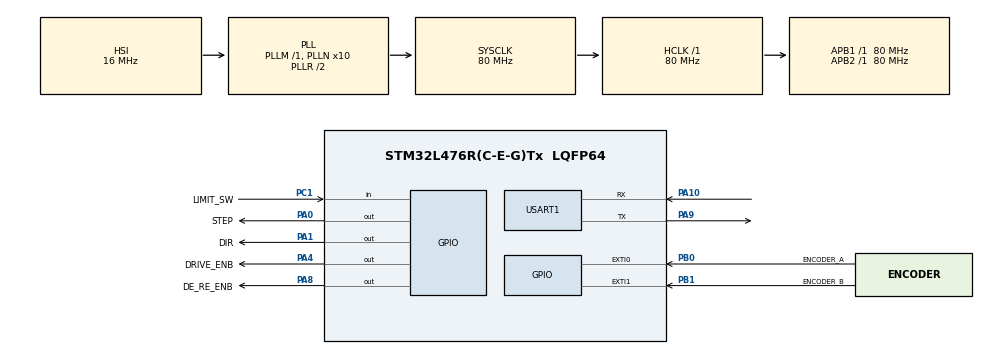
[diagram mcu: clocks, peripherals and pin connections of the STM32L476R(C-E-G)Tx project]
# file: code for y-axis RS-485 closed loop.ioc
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FREERTOS.Tasks01=MotorTask,-1,128,StartMotorTask,Default,NULL,Dynamic,NULL,NULL;EncoderTask,0,128,StartEncoderTask,Default,NULL,Dynamic,NULL,NULL
Mcu.Family=STM32L4
Mcu.Name=STM32L476R(C-E-G)Tx
Mcu.Package=LQFP64
NVIC.EXTI0_IRQn=true\:5\:0\:false\:false\:true\:true\:true\:true\:true
NVIC.EXTI1_IRQn=true\:5\:0\:false\:false\:true\:true\:true\:true\:true
NVIC.PriorityGroup=NVIC_PRIORITYGROUP_4
NVIC.TIM2_IRQn=true\:15\:0\:false\:false\:true\:false\:false\:true\:true
NVIC.TimeBase=TIM2_IRQn
NVIC.TimeBaseIP=TIM2
NVIC.USART1_IRQn=true\:5\:0\:false\:false\:true\:true\:true\:true\:true
PA0.GPIO_Label=STEP
PA0.Signal=GPIO_Output
PA1.GPIO_Label=DIR
PA1.Signal=GPIO_Output
PA10.Mode=Asynchronous
PA10.Signal=USART1_RX
PA4.GPIO_Label=DRIVE_ENB
PA4.Signal=GPIO_Output
PA8.GPIO_Label=DE_RE_ENB
PA8.Signal=GPIO_Output
PA9.Mode=Asynchronous
PA9.Signal=USART1_TX
PB0.GPIO_Label=ENCODER_A
PB0.GPIO_ModeDefaultEXTI=GPIO_MODE_IT_RISING_FALLING
PB0.GPIO_PuPd=GPIO_PULLUP
PB0.Signal=GPXTI0
PB1.GPIO_Label=ENCODER_B
PB1.GPIO_ModeDefaultEXTI=GPIO_MODE_IT_RISING_FALLING
PB1.GPIO_PuPd=GPIO_PULLUP
PB1.Signal=GPXTI1
PC1.GPIO_Label=LIMIT_SW
PC1.GPIO_PuPd=GPIO_PULLUP
PC1.Signal=GPIO_Input
PH0-OSC_IN\ (PH0).Mode=HSE-External-Oscillator
PH0-OSC_IN\ (PH0).Signal=RCC_OSC_IN
PH1-OSC_OUT\ (PH1).Mode=HSE-External-Oscillator
PH1-OSC_OUT\ (PH1).Signal=RCC_OSC_OUT
ProjectManager.HeapSize=0x200
ProjectManager.StackSize=0x400
ProjectManager.TargetToolchain=STM32CubeIDE
RCC.ADCFreq_Value=64000000
RCC.AHBFreq_Value=80000000
RCC.APB1Freq_Value=80000000
RCC.APB1TimFreq_Value=80000000
RCC.APB2Freq_Value=80000000
RCC.APB2TimFreq_Value=80000000
RCC.CortexFreq_Value=80000000
RCC.HCLKFreq_Value=80000000
RCC.HSE_VALUE=8000000
RCC.HSI_VALUE=16000000
RCC.LSE_VALUE=32768
RCC.MSI_VALUE=4000000
RCC.PLLN=10
RCC.PLLSourceVirtual=RCC_PLLSOURCE_HSI
RCC.PREFETCH_ENABLE=1
RCC.SYSCLKFreq_VALUE=80000000
RCC.SYSCLKSource=RCC_SYSCLKSOURCE_PLLCLK
RCC.USBFreq_Value=64000000
RCC.VCOOutputFreq_Value=160000000
TIM1.Prescaler=80-1
USART1.VirtualMode-Asynchronous=VM_ASYNC
VP_FREERTOS_VS_CMSIS_V1.Mode=CMSIS_V1
VP_SYS_VS_tim2.Mode=TIM2
VP_TIM1_VS_ClockSourceINT.Mode=Internal
board=NUCLEO-L476RG

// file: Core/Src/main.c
/* USER CODE BEGIN Header */
/**
  ******************************************************************************
  * @file           : main.c
  * @brief          : Main program body
  ******************************************************************************
  * @attention
  *
  * Copyright (c) 2025 STMicroelectronics.
  * All rights reserved.
  *
  * This software is licensed under terms that can be found in the LICENSE file
  * in the root directory of this software component.
  * If no LICENSE file comes with this software, it is provided AS-IS.
  *
  ******************************************************************************
  */
/* USER CODE END Header */
#include "main.h"
#include "cmsis_os.h"

/* USER CODE BEGIN Includes */
#include "PlebcStepper.h"
#include "modbus_rtu_slave.h"
#include "stdio.h"
#include "stdint.h"
#include "string.h"
#include "stdlib.h"
/* USER CODE END Includes */

/* USER CODE BEGIN PTD */

//For Encoder
volatile int lastEncoded = 0;
volatile long encoderValue = 0;
int lastMSB = 0;
int lastLSB = 0;

int prev_input_distance = 0;
int prevstepsToMove=0;

volatile float velocity = 0.00;
volatile float rpm = 0; // Current RPM
volatile float prev_rpm = 0;
volatile float pully_dia = 0;

float acceleration = 0;
float prev_acceleration = 0;

//Calculating motor steps
int motorSetSteps = 0; // Steps per revolution of the motor
float prev_targetPosition = 0;
int input_distance= 0;
long int updatedEncoderValue;
long int currentPosition = 0;
float targetPosition = 0;
long int positionToMove = 0;
int stepsToMove = 0;

//For calculating RPM
volatile long encoderPulses = 0;
#define PULSES_PER_REVOLUTION 1130 // Set this to your encoder's pulses per revolution
float speed = 0.00;

float enc_val_in_1rev = 1130.00; //linear encoder values in 1 revolution - test bench
float mm_in_1rev = 40.00; //distance covered on 1 revolution (in mm)(linear encoder) - test bench

//float enc_val_in_1rev = 2848.00; //linear encoder values in 1 revolution - x-axis
//float mm_in_1rev = 100.00; //distance covered on 1 revolution (in mm)(linear encoder) - x-axis

//float enc_val_in_1rev = 3550.00; //linear encoder values in 1 revolution - z-axis
//float mm_in_1rev = 125.00; //distance covered on 1 revolution (in mm)(linear encoder) - z-axis

/* USER CODE END PTD */

/* USER CODE BEGIN PD */

/* USER CODE BEGIN PD */

/* Pins on Board */
//	PA0 -> STEP/Pulse
//	PA1 -> DIR
//  PA4 -> DRIVE_ENB
//	PB0 -> ENCODER_A
//	PB1 -> ENCODER_B
//	PC1 -> LIMIT_SW
//	PA9 -> USART1_TX
//	PA10 -> USART1_RX
//  PA8 -> DE_RE_Pin (DE,RE Pin of RS485 module)

/* User Instructions */

//	1mm = 160 steps
//  360 degree = 1130 linear encoder values
//  360 degree = 40 mm movement
//  1 mm = 28.25 linear encoder values
//  1 value = 0.353982300884956

/* USER CODE END PD */

TIM_HandleTypeDef htim1;

UART_HandleTypeDef huart1;

osThreadId MotorTaskHandle;
osThreadId EncoderTaskHandle;

void SystemClock_Config(void);
static void MX_GPIO_Init(void);
static void MX_TIM1_Init(void);
static void MX_USART1_UART_Init(void);
void StartMotorTask(void const * argument);
void StartEncoderTask(void const * argument);

/* USER CODE BEGIN 0 */

void updateEncoder(void)
{
  int MSB = HAL_GPIO_ReadPin(GPIOB, ENCODER_A_Pin);
  int LSB = HAL_GPIO_ReadPin(GPIOB, ENCODER_B_Pin);

  int encoded = (MSB << 1) | LSB;
  int sum = (lastEncoded << 2) | encoded;

  if (sum == 0b1101 || sum == 0b0100 || sum == 0b0010 || sum == 0b1011)
  {
    encoderValue++;
    encoderPulses++;
  }

  if (sum == 0b1110 || sum == 0b0111 || sum == 0b0001 || sum == 0b1000)
  {
    encoderValue--;
    encoderPulses++;
  }

  lastEncoded = encoded;
}
void HAL_GPIO_EXTI_Callback(uint16_t GPIO_Pin)
{
  if (GPIO_Pin == ENCODER_A_Pin || GPIO_Pin == ENCODER_B_Pin)
  {
    updateEncoder();

  }
}

// Function to start UART reception
void UART_StartReceive(void)
{
  // Enable reception by setting DE and RE pins high
  HAL_GPIO_WritePin(DE_RE_ENB_GPIO_Port, DE_RE_ENB_Pin, GPIO_PIN_RESET);

  HAL_UARTEx_ReceiveToIdle_IT(&huart1, RxData, RX_BUFFER_SIZE);

}

int _write(int file, char *ptr, int len)
{
	int i = 0;
	for(i=0; i<len; i++)

		ITM_SendChar((*ptr++));

	return len;
}

/* USER CODE END 0 */

int main(void)
{

  /* USER CODE BEGIN 1 */

	velocity 		= Holding_Registers_Database[0];
	acceleration 	= Holding_Registers_Database[1];
	pully_dia 		= Holding_Registers_Database[2];
	motorSetSteps 	= Holding_Registers_Database[3];

  /* USER CODE END 1 */

  /* MCU Configuration--------------------------------------------------------*/

  /* Reset of all peripherals, Initializes the Flash interface and the Systick. */
  HAL_Init();

  /* Configure the system clock */
  SystemClock_Config();

  /* Initialize all configured peripherals */
  MX_GPIO_Init();
  MX_TIM1_Init();
  MX_USART1_UART_Init();
  /* USER CODE BEGIN 2 */

    HAL_TIM_Base_Start(&htim1);
    UART_StartReceive();

  /* USER CODE END 2 */

  /* Create the thread(s) */
  /* definition and creation of MotorTask */
  osThreadDef(MotorTask, StartMotorTask, osPriorityBelowNormal, 0, 128);
  MotorTaskHandle = osThreadCreate(osThread(MotorTask), NULL);

  /* definition and creation of EncoderTask */
  osThreadDef(EncoderTask, StartEncoderTask, osPriorityNormal, 0, 128);
  EncoderTaskHandle = osThreadCreate(osThread(EncoderTask), NULL);

  /* Start scheduler */
  osKernelStart();

  /* We should never get here as control is now taken by the scheduler */

  /* Infinite loop */
  while (1)
  {

  }
}

void SystemClock_Config(void)
{
  RCC_OscInitTypeDef RCC_OscInitStruct = {0};
  RCC_ClkInitTypeDef RCC_ClkInitStruct = {0};

  /** Configure the main internal regulator output voltage
  */
  if (HAL_PWREx_ControlVoltageScaling(PWR_REGULATOR_VOLTAGE_SCALE1) != HAL_OK)
  {
    Error_Handler();
  }

  /** Initializes the RCC Oscillators according to the specified parameters
  * in the RCC_OscInitTypeDef structure.
  */
  RCC_OscInitStruct.OscillatorType = RCC_OSCILLATORTYPE_HSI;
  RCC_OscInitStruct.HSIState = RCC_HSI_ON;
  RCC_OscInitStruct.HSICalibrationValue = RCC_HSICALIBRATION_DEFAULT;
  RCC_OscInitStruct.PLL.PLLState = RCC_PLL_ON;
  RCC_OscInitStruct.PLL.PLLSource = RCC_PLLSOURCE_HSI;
  RCC_OscInitStruct.PLL.PLLM = 1;
  RCC_OscInitStruct.PLL.PLLN = 10;
  RCC_OscInitStruct.PLL.PLLP = RCC_PLLP_DIV7;
  RCC_OscInitStruct.PLL.PLLQ = RCC_PLLQ_DIV2;
  RCC_OscInitStruct.PLL.PLLR = RCC_PLLR_DIV2;
  if (HAL_RCC_OscConfig(&RCC_OscInitStruct) != HAL_OK)
  {
    Error_Handler();
  }

  /** Initializes the CPU, AHB and APB buses clocks
  */
  RCC_ClkInitStruct.ClockType = RCC_CLOCKTYPE_HCLK|RCC_CLOCKTYPE_SYSCLK
                              |RCC_CLOCKTYPE_PCLK1|RCC_CLOCKTYPE_PCLK2;
  RCC_ClkInitStruct.SYSCLKSource = RCC_SYSCLKSOURCE_PLLCLK;
  RCC_ClkInitStruct.AHBCLKDivider = RCC_SYSCLK_DIV1;
  RCC_ClkInitStruct.APB1CLKDivider = RCC_HCLK_DIV1;
  RCC_ClkInitStruct.APB2CLKDivider = RCC_HCLK_DIV1;

  if (HAL_RCC_ClockConfig(&RCC_ClkInitStruct, FLASH_LATENCY_4) != HAL_OK)
  {
    Error_Handler();
  }
}

static void MX_TIM1_Init(void)
{

  TIM_ClockConfigTypeDef sClockSourceConfig = {0};
  TIM_MasterConfigTypeDef sMasterConfig = {0};

  htim1.Instance = TIM1;
  htim1.Init.Prescaler = 80-1;
  htim1.Init.CounterMode = TIM_COUNTERMODE_UP;
  htim1.Init.Period = 65535;
  htim1.Init.ClockDivision = TIM_CLOCKDIVISION_DIV1;
  htim1.Init.RepetitionCounter = 0;
  htim1.Init.AutoReloadPreload = TIM_AUTORELOAD_PRELOAD_DISABLE;
  if (HAL_TIM_Base_Init(&htim1) != HAL_OK)
  {
    Error_Handler();
  }
  sClockSourceConfig.ClockSource = TIM_CLOCKSOURCE_INTERNAL;
  if (HAL_TIM_ConfigClockSource(&htim1, &sClockSourceConfig) != HAL_OK)
  {
    Error_Handler();
  }
  sMasterConfig.MasterOutputTrigger = TIM_TRGO_RESET;
  sMasterConfig.MasterOutputTrigger2 = TIM_TRGO2_RESET;
  sMasterConfig.MasterSlaveMode = TIM_MASTERSLAVEMODE_DISABLE;
  if (HAL_TIMEx_MasterConfigSynchronization(&htim1, &sMasterConfig) != HAL_OK)
  {
    Error_Handler();
  }

}

static void MX_USART1_UART_Init(void)
{

  huart1.Instance = USART1;
  huart1.Init.BaudRate = 115200;
  huart1.Init.WordLength = UART_WORDLENGTH_8B;
  huart1.Init.StopBits = UART_STOPBITS_1;
  huart1.Init.Parity = UART_PARITY_NONE;
  huart1.Init.Mode = UART_MODE_TX_RX;
  huart1.Init.HwFlowCtl = UART_HWCONTROL_NONE;
  huart1.Init.OverSampling = UART_OVERSAMPLING_16;
  huart1.Init.OneBitSampling = UART_ONE_BIT_SAMPLE_DISABLE;
  huart1.AdvancedInit.AdvFeatureInit = UART_ADVFEATURE_NO_INIT;
  if (HAL_UART_Init(&huart1) != HAL_OK)
  {
    Error_Handler();
  }

}

static void MX_GPIO_Init(void)
{
  GPIO_InitTypeDef GPIO_InitStruct = {0};

  /* GPIO Ports Clock Enable */
  __HAL_RCC_GPIOH_CLK_ENABLE();
  __HAL_RCC_GPIOC_CLK_ENABLE();
  __HAL_RCC_GPIOA_CLK_ENABLE();
  __HAL_RCC_GPIOB_CLK_ENABLE();

  /*Configure GPIO pin Output Level */
  HAL_GPIO_WritePin(GPIOA, STEP_Pin|DIR_Pin|DRIVE_ENB_Pin|DE_RE_ENB_Pin, GPIO_PIN_RESET);

  /*Configure GPIO pin : LIMIT_SW_Pin */
  GPIO_InitStruct.Pin = LIMIT_SW_Pin;
  GPIO_InitStruct.Mode = GPIO_MODE_INPUT;
  GPIO_InitStruct.Pull = GPIO_PULLUP;
  HAL_GPIO_Init(LIMIT_SW_GPIO_Port, &GPIO_InitStruct);

  /*Configure GPIO pins : STEP_Pin DIR_Pin DRIVE_ENB_Pin DE_RE_ENB_Pin */
  GPIO_InitStruct.Pin = STEP_Pin|DIR_Pin|DRIVE_ENB_Pin|DE_RE_ENB_Pin;
  GPIO_InitStruct.Mode = GPIO_MODE_OUTPUT_PP;
  GPIO_InitStruct.Pull = GPIO_NOPULL;
  GPIO_InitStruct.Speed = GPIO_SPEED_FREQ_LOW;
  HAL_GPIO_Init(GPIOA, &GPIO_InitStruct);

  /*Configure GPIO pins : ENCODER_A_Pin ENCODER_B_Pin */
  GPIO_InitStruct.Pin = ENCODER_A_Pin|ENCODER_B_Pin;
  GPIO_InitStruct.Mode = GPIO_MODE_IT_RISING_FALLING;
  GPIO_InitStruct.Pull = GPIO_PULLUP;
  HAL_GPIO_Init(GPIOB, &GPIO_InitStruct);

  /* EXTI interrupt init*/
  HAL_NVIC_SetPriority(EXTI0_IRQn, 5, 0);
  HAL_NVIC_EnableIRQ(EXTI0_IRQn);

  HAL_NVIC_SetPriority(EXTI1_IRQn, 5, 0);
  HAL_NVIC_EnableIRQ(EXTI1_IRQn);

}

/* USER CODE BEGIN 4 */
// Function to initialize motor position
void homePosition(MotorConfig* motor)
{

	setRPM(15, motorSetSteps); // (RPM, Driver Steps)
	setAcceleration(5.0f); // Set acceleration in steps per second^2

    // Move motor backward until limit switch is triggered
    while (HAL_GPIO_ReadPin(LIMIT_SW_GPIO_Port, LIMIT_SW_Pin) == GPIO_PIN_SET)
    {
    	// Calculate the new speed and step interval
		unsigned long stepInterval = computeNewSpeed();

		// Generate a step pulse with the calculated interval
		HAL_GPIO_WritePin(motor->STEP_PORT, motor->STEP_PIN, GPIO_PIN_SET);
		microDelay(stepInterval / 2);  // Half of the interval for the high pulse
		HAL_GPIO_WritePin(motor->STEP_PORT, motor->STEP_PIN, GPIO_PIN_RESET);
		microDelay(stepInterval / 2);  // Half of the interval for the low pulse
    }
    HAL_Delay(300);
    // move motor forward 3mm or 480 steps

    HAL_GPIO_WritePin(GPIOA, DRIVE_ENB_Pin, GPIO_PIN_RESET);
    HomeMotorMove(motor, 160*3); // motor will move 3mm or 480 steps after hitting the limit switch, 1mm = 160 steps
//    HomeMotorMove(motor, 160*10);
    HAL_GPIO_WritePin(GPIOA, DRIVE_ENB_Pin, GPIO_PIN_SET);

    // Set encoder value to zero
    HAL_Delay(10);
    __disable_irq();

    encoderValue = 0;
    __enable_irq();
}
/* USER CODE END 4 */

void StartMotorTask(void const * argument)
{
  /* USER CODE BEGIN 5 */
	// Define motor configurations
	   MotorConfig motor1 = {GPIOA, GPIO_PIN_1, GPIOA, GPIO_PIN_0};

	// Initialize motor position
	   homePosition(&motor1);
  /* Infinite loop */
  for(;;)
  {
		//Reading RMP value  from RPM holding register
		velocity = Holding_Registers_Database[0];
		pully_dia = Holding_Registers_Database[2];
		rpm = (840*velocity)/(44*pully_dia);

		if(rpm != prev_rpm)
		{
		setRPM(rpm, motorSetSteps); // (RPM, Steps)
		prev_rpm = rpm;
		}

		//Reading acceleration value from acceleration holding register
		acceleration = Holding_Registers_Database[1];
		if(acceleration != prev_acceleration)
		{
		setAcceleration(acceleration);
		prev_acceleration = acceleration;
		}

		// Disable interrupts and read the encoder value
		//__disable_irq();
		currentPosition = encoderValue; // Read the latest encoder value
		//__enable_irq();

		input_distance = Holding_Registers_Database[4];

		// Calculate target position with floating-point division
		targetPosition = input_distance * (enc_val_in_1rev/mm_in_1rev); // in encoder value

		// Calculate position to move
		positionToMove = (long int)targetPosition - currentPosition; // in encoder value

		// Calculate steps to move
		stepsToMove = positionToMove * (motorSetSteps / (float)enc_val_in_1rev);

		if ((prev_input_distance != input_distance) || (prevstepsToMove != stepsToMove))
		{
			//Enable Drive
			HAL_GPIO_WritePin(GPIOA, DRIVE_ENB_Pin, GPIO_PIN_RESET);
			// Move motor
			motorMove(&motor1, stepsToMove);
	    }

		if ((prev_input_distance == input_distance) || (prevstepsToMove == stepsToMove))
		{
			//Disable Drive
			HAL_GPIO_WritePin(GPIOA, DRIVE_ENB_Pin, GPIO_PIN_SET);
		}

		prev_input_distance = input_distance;
		prevstepsToMove = stepsToMove;

		osDelay(5);
  }
  /* USER CODE END 5 */
}

void StartEncoderTask(void const * argument)
{
  /* USER CODE BEGIN StartEncoderTask */
  /* Infinite loop */
  for(;;)
  {
	  Input_Registers_Database[0] = encoderValue; // Store the encoder value in the first input register
	  int distance_covered = encoderValue * (mm_in_1rev/enc_val_in_1rev);
	  Input_Registers_Database[1] = distance_covered; // Store the encoder value in the first input register

	  osDelay(5);

  }
  /* USER CODE END StartEncoderTask */
}

void HAL_TIM_PeriodElapsedCallback(TIM_HandleTypeDef *htim)
{
  if (htim->Instance == TIM2) {
    HAL_IncTick();
  }
}

void Error_Handler(void)
{
  __disable_irq();
  while (1)
  {
  }
}
